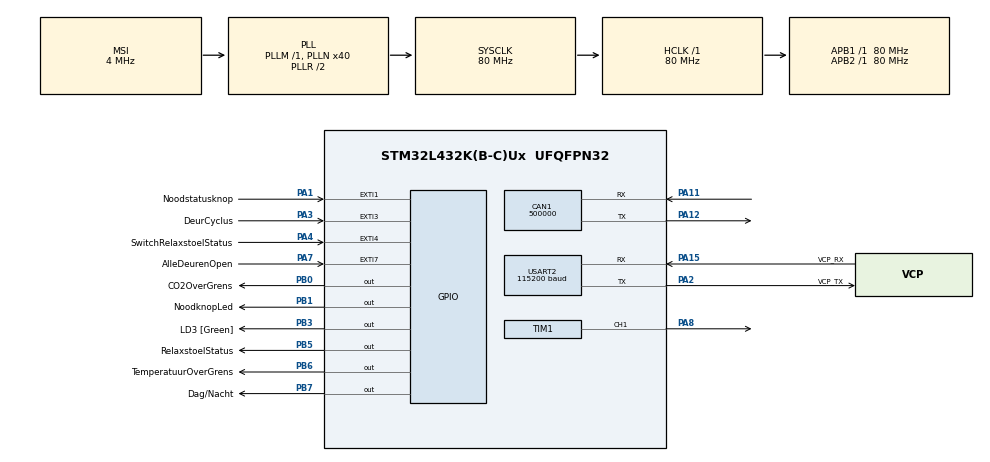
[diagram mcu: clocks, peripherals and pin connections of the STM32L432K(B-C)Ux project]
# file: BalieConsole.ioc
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CAN1.BS1=CAN_BS1_3TQ
CAN1.BS2=CAN_BS2_6TQ
CAN1.CalculateBaudRate=500000
CAN1.CalculateTimeBit=2000
CAN1.CalculateTimeQuantum=200.0
CAN1.NART=ENABLE
Mcu.Family=STM32L4
Mcu.Name=STM32L432K(B-C)Ux
Mcu.Package=UFQFPN32
NVIC.CAN1_RX0_IRQn=true\:0\:0\:false\:false\:true\:true\:true\:true
NVIC.EXTI1_IRQn=true\:0\:0\:false\:false\:true\:true\:true\:true
NVIC.EXTI3_IRQn=true\:0\:0\:false\:false\:true\:true\:true\:true
NVIC.EXTI4_IRQn=true\:0\:0\:false\:false\:true\:true\:true\:true
NVIC.EXTI9_5_IRQn=true\:0\:0\:false\:false\:true\:true\:true\:true
NVIC.PriorityGroup=NVIC_PRIORITYGROUP_4
NVIC.USART2_IRQn=true\:0\:0\:false\:false\:true\:true\:true\:true
PA0.GPIO_Label=MCO [High speed clock in]
PA0.Mode=HSE-External-Clock-Source-for-LittleOrca
PA0.Signal=RCC_CK_IN
PA1.GPIO_Label=Noodstatusknop
PA1.GPIO_ModeDefaultEXTI=GPIO_MODE_IT_FALLING
PA1.GPIO_PuPd=GPIO_PULLUP
PA1.Signal=GPXTI1
PA11.Mode=CAN_Activate
PA11.Signal=CAN1_RX
PA12.Mode=CAN_Activate
PA12.Signal=CAN1_TX
PA13\ (JTMS-SWDIO).GPIO_Label=SWDIO
PA13\ (JTMS-SWDIO).Mode=Serial_Wire
PA13\ (JTMS-SWDIO).Signal=SYS_JTMS-SWDIO
PA14\ (JTCK-SWCLK).GPIO_Label=SWCLK
PA14\ (JTCK-SWCLK).Mode=Serial_Wire
PA14\ (JTCK-SWCLK).Signal=SYS_JTCK-SWCLK
PA15\ (JTDI).GPIO_Label=VCP_RX
PA15\ (JTDI).Mode=Asynchronous
PA15\ (JTDI).Signal=USART2_RX
PA2.GPIO_Label=VCP_TX
PA2.Mode=Asynchronous
PA2.Signal=USART2_TX
PA3.GPIO_Label=DeurCyclus
PA3.GPIO_ModeDefaultEXTI=GPIO_MODE_IT_FALLING
PA3.GPIO_PuPd=GPIO_PULLUP
PA3.Signal=GPXTI3
PA4.GPIO_Label=SwitchRelaxstoelStatus
PA4.GPIO_ModeDefaultEXTI=GPIO_MODE_IT_FALLING
PA4.GPIO_PuPd=GPIO_PULLUP
PA4.Signal=GPXTI4
PA7.GPIO_Label=AlleDeurenOpen
PA7.GPIO_ModeDefaultEXTI=GPIO_MODE_IT_FALLING
PA7.GPIO_PuPd=GPIO_PULLUP
PA7.Signal=GPXTI7
PA8.Signal=S_TIM1_CH1
PB0.GPIO_Label=CO2OverGrens
PB0.Signal=GPIO_Output
PB1.GPIO_Label=NoodknopLed
PB1.Signal=GPIO_Output
PB3\ (JTDO-TRACESWO).GPIO_Label=LD3 [Green]
PB3\ (JTDO-TRACESWO).Signal=GPIO_Output
PB5.GPIO_Label=RelaxstoelStatus
PB5.Signal=GPIO_Output
PB6.GPIO_Label=TemperatuurOverGrens
PB6.Signal=GPIO_Output
PB7.GPIO_Label=Dag/Nacht
PB7.Signal=GPIO_Output
PC14-OSC32_IN\ (PC14).Mode=LSE-External-Oscillator
PC14-OSC32_IN\ (PC14).Signal=RCC_OSC32_IN
PC15-OSC32_OUT\ (PC15).Mode=LSE-External-Oscillator
PC15-OSC32_OUT\ (PC15).Signal=RCC_OSC32_OUT
ProjectManager.HeapSize=0x200
ProjectManager.StackSize=0x400
ProjectManager.TargetToolchain=STM32CubeIDE
RCC.AHBFreq_Value=80000000
RCC.APB1Freq_Value=80000000
RCC.APB1TimFreq_Value=80000000
RCC.APB2Freq_Value=80000000
RCC.APB2TimFreq_Value=80000000
RCC.CortexFreq_Value=80000000
RCC.HCLKFreq_Value=80000000
RCC.HSE_VALUE=8000000
RCC.HSI16_VALUE=16000000
RCC.HSI48_VALUE=48000000
RCC.HSI_VALUE=16000000
RCC.MSI_VALUE=4000000
RCC.PLLMUL=RCC_PLLMUL_4
RCC.PLLN=40
RCC.SYSCLKFreq_VALUE=80000000
RCC.SYSCLKSource=RCC_SYSCLKSOURCE_PLLCLK
RCC.VCOOutputFreq_Value=160000000
SH.S_TIM1_CH1.0=TIM1_CH1,PWM Generation1 CH1
TIM1.Channel-PWM\ Generation1\ CH1=TIM_CHANNEL_1
TIM1.Period=999
TIM1.Prescaler=31
TIM1.Pulse-PWM\ Generation1\ CH1=499
USART2.BaudRate=115200
USART2.VirtualMode-Asynchronous=VM_ASYNC
board=NUCLEO-L432KC

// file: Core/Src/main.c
/* USER CODE BEGIN Header */
/**
  ******************************************************************************
  * @file           : main.c
  * @brief          : Main program body
  ******************************************************************************
  * @attention
  *
  * Copyright (c) 2026 STMicroelectronics.
  * All rights reserved.
  *
  * This software is licensed under terms that can be found in the LICENSE file
  * in the root directory of this software component.
  * If no LICENSE file comes with this software, it is provided AS-IS.
  *
  ******************************************************************************
  */
/* USER CODE END Header */
#include "main.h"

/* USER CODE BEGIN Includes */
#include <stdio.h>
#include <string.h>
#include <stdlib.h>
/* USER CODE END Includes */

CAN_HandleTypeDef hcan1;

TIM_HandleTypeDef htim1;

UART_HandleTypeDef huart2;

/* USER CODE BEGIN PV */
CAN_TxHeaderTypeDef TxHeader;
CAN_RxHeaderTypeDef RxHeader;

uint8_t TxData[8];
uint8_t RxData[8];

uint32_t TxMailbox;
uint8_t rxByte; //usart recieving

uint8_t datacheck = 0;
uint8_t RTRReceived = 0;

volatile uint8_t noodActief = 0;
volatile uint8_t relaxStoelStatus = 0;
volatile uint8_t co2High = 1;
volatile uint8_t tempHigh = 1;
volatile uint8_t timeOfDay = 0;

/* debounce timers */
volatile uint32_t db_Deuren = 0;
volatile uint32_t db_Nood   = 0;
volatile uint32_t db_Cyclus = 0;
volatile uint32_t db_Relax  = 0;

// print usart output variables:
#define MAX_MSGS 5
#define MSG_LEN  32

char meldingen[MAX_MSGS][MSG_LEN];
uint8_t msgIndex = 0;
uint32_t lastRefresh = 0;
volatile uint8_t screenUpdateFlag = 1;
volatile uint16_t co2 = 0;
volatile uint8_t temp = 0;
volatile uint8_t menuState = 0;
// 0 = main menu
// 1 = color menu
// 2 = brightness menu
// 3 = combo menu
char uartBuf[25];
uint8_t uartIdx = 0;
/* USER CODE END PV */

void SystemClock_Config(void);
static void MX_GPIO_Init(void);
static void MX_USART2_UART_Init(void);
static void MX_TIM1_Init(void);
static void MX_CAN1_Init(void);
/* USER CODE BEGIN PFP */
void SendCanMessage(int dataLength, uint64_t data, uint16_t canID);
/* USER CODE END PFP */

/* USER CODE BEGIN 0 */

void Safe_Delay(int ms)
{
    uint32_t start = HAL_GetTick();
    while (HAL_GetTick() - start < ms) {
        if (noodActief) return;
    }
}

void ZetAan(GPIO_TypeDef* GPIO, uint16_t pin) {
    HAL_GPIO_WritePin(GPIO, pin, GPIO_PIN_SET);
}

void ZetUit(GPIO_TypeDef* GPIO, uint16_t pin) {
    HAL_GPIO_WritePin(GPIO, pin, GPIO_PIN_RESET);
}

void UART_Print(const char* str)
{
    while (*str)
    {
        HAL_UART_Transmit(&huart2, (uint8_t*)str, 1, HAL_MAX_DELAY);
        str++;
    }
}

void AddMelding(const char *msg)
{
    // shift older messages down
    for (int i = MAX_MSGS - 1; i > 0; i--)
    {
        strncpy(meldingen[i], meldingen[i - 1], MSG_LEN);
    }

    // insert newest at top
    strncpy(meldingen[0], msg, MSG_LEN - 1);
    meldingen[0][MSG_LEN - 1] = '\0';
}

void SendColor(uint8_t color)
{
    TxHeader.StdId = 0x100;
    TxHeader.DLC = 1;

    TxData[0] = color;

    HAL_CAN_AddTxMessage(&hcan1, &TxHeader, TxData, &TxMailbox);
}

void SendBrightness(uint8_t percent)
{
    if (percent > 100) percent = 100;

    uint8_t value = (percent * 255) / 100;

    TxHeader.StdId = 0x110;
    TxHeader.DLC = 1;

    TxData[0] = value;

    HAL_CAN_AddTxMessage(&hcan1, &TxHeader, TxData, &TxMailbox);
}

void HandleCommand(char *cmd)
{
    // MAIN MENU
    if (menuState == 0)
    {
        if (cmd[0] == '1')
        {
            menuState = 1;
            UART_Print("\r\nKleur kiezen (0-11):\r\n");
            UART_Print("0: Blauw\r\n");
            UART_Print("1: Groen\r\n");
            UART_Print("2: Aqua\r\n");
            UART_Print("3: Rood\r\n");
            UART_Print("4: Paars\r\n");
            UART_Print("5: Amber\r\n");
            UART_Print("6: Licht Blauw\r\n");
            UART_Print("7: Mint groen\r\n");
            UART_Print("8: Roze\r\n");
            UART_Print("9: Licht paars\r\n");
            UART_Print("10: Licht Geel\r\n");
            UART_Print("11: Wit\r\n");
            UART_Print("Selected color: ");
        }
        else if (cmd[0] == '2')
        {
            menuState = 2;
            UART_Print("\r\nHelderheid kiezen (0-100):\r\n");
        }
        else if (cmd[0] == '3')
        {
            menuState = 3;
            UART_Print("\r\nCombo: kleur + helderheid (bv: 5 80)\r\n");
            UART_Print("0: Blauw\r\n");
            UART_Print("1: Groen\r\n");
            UART_Print("2: Aqua\r\n");
            UART_Print("3: Rood\r\n");
            UART_Print("4: Paars\r\n");
            UART_Print("5: Amber\r\n");
            UART_Print("6: Licht Blauw\r\n");
            UART_Print("7: Mint groen\r\n");
            UART_Print("8: Roze\r\n");
            UART_Print("9: Licht paars\r\n");
            UART_Print("10: Licht Geel\r\n");
            UART_Print("11: Wit\r\n");
        }
        else if (cmd[0] == '4')
        {
            menuState = 4;
            uartIdx = 0; // reset buffer

            UART_Print("\r\nTyp tekst voor lichtkrant (max 24 chars):\r\n");
            UART_Print("> ");
            return;
        }
        else if (cmd[0] == '5')
        {
            menuState = 5;
            uartIdx = 0;

            UART_Print("\r\nNOODTEKST MODE (max 24 chars)\r\n");
            UART_Print("Typ noodbericht:\r\n> ");
            return;
        }
        else if (cmd[0] == '6')
        {
            menuState = 6;
            uartIdx = 0;

            UART_Print("\r\nDag/Nacht tijd instellen\r\n");
            UART_Print("Formaat: 0800 1700\r\n");
            UART_Print("Typ: <dagtijd> <nachtijd>\r\n> ");
            return;
        }
        return;
    }

    // COLOR MENU
    if (menuState == 1)
    {
        int color = atoi(cmd);

        if (color >= 0 && color <= 11)
        {
            SendColor((uint8_t)color);

            screenUpdateFlag = 1;
        }

        menuState = 0;
        return;
    }

    // BRIGHTNESS MENU
    if (menuState == 2)
    {
        int percent = atoi(cmd);

        if (percent < 0) percent = 0;
        if (percent > 100) percent = 100;

        SendBrightness((uint8_t)percent);
        screenUpdateFlag = 1;

        menuState = 0;
        return;
    }

    // COMBO MENU
    if (menuState == 3)
    {
        int color, brightness;

        if (sscanf(cmd, "%d %d", &color, &brightness) == 2)
        {
            if (color >= 0 && color <= 11)
                SendColor((uint8_t)color);

            if (brightness < 0) brightness = 0;
            if (brightness > 100) brightness = 100;

            SendBrightness((uint8_t)brightness);

            UART_Print("Combo sent\r\n");
            screenUpdateFlag = 1;
        }
        else
        {
            UART_Print("Format: <color> <brightness>\r\n");
        }

        menuState = 0;
        return;
    }

    if (menuState == 4)
    {
        int len = strlen(cmd);

        if (len == 0)
        {
            menuState = 0;
            return;
        }

        if (len > 24)
        {
            UART_Print("\r\nTe lang! Max 24 karakters.\r\n");
            len = 24;
        }

        UART_Print("\r\nVersturen...\r\n");

        uint8_t frame1[8] = {0};
        uint8_t frame2[8] = {0};
        uint8_t frame3[8] = {0};

        // ----------------------------
        // Split string into 3 CAN frames
        // ----------------------------
        for (int i = 0; i < 8; i++)
        {
            frame1[i] = (i < len) ? cmd[i] : 0x00;
            frame2[i] = ((i + 8) < len) ? cmd[i + 8] : 0x00;
            frame3[i] = ((i + 16) < len) ? cmd[i + 16] : 0x00;
        }

        // ----------------------------
        // PACK FRAME 1
        // ----------------------------
        uint64_t pack1 = 0;
        uint64_t pack2 = 0;
        uint64_t pack3 = 0;

        for (int i = 0; i < 8; i++)
        {
            pack1 |= ((uint64_t)frame1[i]) << (8 * (7 - i));
            pack2 |= ((uint64_t)frame2[i]) << (8 * (7 - i));
            pack3 |= ((uint64_t)frame3[i]) << (8 * (7 - i));
        }

        // ----------------------------
        // SEND FRAME
        // ----------------------------
        SendCanMessage(8, pack1, 0x180);
        SendCanMessage(8, pack2, 0x190);
        SendCanMessage(8, pack3, 0x191);

        UART_Print("Klaar met versturen\r\n");

        menuState = 0;
        screenUpdateFlag = 1;
        return;
    }
    if (menuState == 5)
    {
        int len = strlen(cmd);

        if (len == 0)
        {
            menuState = 0;
            return;
        }

        if (len > 24)
        {
            UART_Print("\r\nTe lang! Max 24 karakters.\r\n");
            len = 24;
        }

        UART_Print("\r\nNOODTEKST WORDT VERSTUURD...\r\n");

        uint8_t frame1[8] = {0};
        uint8_t frame2[8] = {0};
        uint8_t frame3[8] = {0};

        // ----------------------------
        // Split into 3 CAN frames
        // ----------------------------
        for (int i = 0; i < 8; i++)
        {
            frame1[i] = (i < len) ? cmd[i] : 0x00;
            frame2[i] = ((i + 8) < len) ? cmd[i + 8] : 0x00;
            frame3[i] = ((i + 16) < len) ? cmd[i + 16] : 0x00;
        }

        // ----------------------------
        // PACK INTO uint64_t SAFELY
        // ----------------------------
        uint64_t pack1 = 0;
        uint64_t pack2 = 0;
        uint64_t pack3 = 0;

        for (int i = 0; i < 8; i++)
        {
            pack1 |= ((uint64_t)frame1[i]) << (8 * (7 - i));
            pack2 |= ((uint64_t)frame2[i]) << (8 * (7 - i));
            pack3 |= ((uint64_t)frame3[i]) << (8 * (7 - i));
        }

        // ----------------------------
        // SEND ALL FRAMES
        // ----------------------------
        SendCanMessage(8, pack1, 0x150);
        SendCanMessage(8, pack2, 0x160);
        SendCanMessage(8, pack3, 0x170);

        UART_Print("NOODTEKST verzonden\r\n");

        menuState = 0;
        screenUpdateFlag = 1;
        return;
    }
    if (menuState == 6)
    {
        int day, night;

        if (strlen(cmd) == 0)
        {
            menuState = 0;
            return;
        }

        // Expect: 0800 1700
        if (sscanf(cmd, "%d %d", &day, &night) != 2)
        {
            UART_Print("\r\n? Fout formaat!\r\nGebruik: 0800 1700\r\n");
            menuState = 0;
            return;
        }

        int dayHH = day / 100;
        int dayMM = day % 100;
        int nightHH = night / 100;
        int nightMM = night % 100;

        if (dayHH > 23 || nightHH > 23 || dayMM > 59 || nightMM > 59)
        {
            UART_Print("\r\n? Ongeldige tijd!\r\n");
            menuState = 0;
            return;
        }

        UART_Print("\r\nTijd versturen...\r\n");

        uint8_t frame[8] = {0};

        // same layout you wanted:
        // 0x00 08 00 00 01 07 00 00

        frame[0] = 0x00;
        frame[1] = (uint8_t)dayHH;
        frame[2] = (uint8_t)dayMM;
        frame[3] = 0x00;

        frame[4] = 0x00;
        frame[5] = (uint8_t)nightHH;
        frame[6] = (uint8_t)nightMM;
        frame[7] = 0x00;

        // ----------------------------
        // PACK USING SAME METHOD AS MENU 5
        // ----------------------------
        uint64_t pack = 0;

        for (int i = 0; i < 8; i++)
        {
            pack |= ((uint64_t)frame[i]) << (8 * (7 - i));
        }

        SendCanMessage(8, pack, 0x192);

        UART_Print("OK: tijd verzonden (0x192)\r\n");

        menuState = 0;
        screenUpdateFlag = 1;
        return;
    }
}
/* USER CODE END 0 */

int main(void)
{

  /* MCU Configuration--------------------------------------------------------*/

  /* Reset of all peripherals, Initializes the Flash interface and the Systick. */
  HAL_Init();

  /* Configure the system clock */
  SystemClock_Config();

  /* Initialize all configured peripherals */
  MX_GPIO_Init();
  MX_USART2_UART_Init();
  MX_TIM1_Init();
  MX_CAN1_Init();
  /* USER CODE BEGIN 2 */
  HAL_UART_Receive_IT(&huart2, &rxByte, 1);

  CAN_FilterTypeDef canfilterconfig;

  /* Common filter settings */
  canfilterconfig.FilterActivation = CAN_FILTER_ENABLE;
  canfilterconfig.FilterFIFOAssignment = CAN_FILTER_FIFO0;
  canfilterconfig.FilterMode = CAN_FILTERMODE_IDMASK;
  canfilterconfig.FilterScale = CAN_FILTERSCALE_32BIT;
  canfilterconfig.SlaveStartFilterBank = 10;

  /* Filter 0 -> 0x200 */
  canfilterconfig.FilterBank = 0;
  canfilterconfig.FilterIdHigh = (0x200 << 5);
  canfilterconfig.FilterIdLow = 0;
  canfilterconfig.FilterMaskIdHigh = (0x7FF << 5);
  canfilterconfig.FilterMaskIdLow = 0;
  HAL_CAN_ConfigFilter(&hcan1, &canfilterconfig);

  /* Filter 1 -> 0x210 */
  canfilterconfig.FilterBank = 1;
  canfilterconfig.FilterIdHigh = (0x210 << 5);
  HAL_CAN_ConfigFilter(&hcan1, &canfilterconfig);

  /* Filter 2 -> 0x001 */
  canfilterconfig.FilterBank = 2;
  canfilterconfig.FilterIdHigh = (0x001 << 5);
  HAL_CAN_ConfigFilter(&hcan1, &canfilterconfig);

  /* Filter 3 -> 0x300 */
  canfilterconfig.FilterBank = 3;
  canfilterconfig.FilterIdHigh = (0x300 << 5);
  HAL_CAN_ConfigFilter(&hcan1, &canfilterconfig);

  /* Filter 4 -> 0x310 */
  canfilterconfig.FilterBank = 4;
  canfilterconfig.FilterIdHigh = (0x310 << 5);
  HAL_CAN_ConfigFilter(&hcan1, &canfilterconfig);

  /* Filter 5 -> 0x400 */
  canfilterconfig.FilterBank = 5;
  canfilterconfig.FilterIdHigh = (0x400 << 5);
  HAL_CAN_ConfigFilter(&hcan1, &canfilterconfig);

  /* Filter 6 -> 0x410 */
  canfilterconfig.FilterBank = 6;
  canfilterconfig.FilterIdHigh = (0x410 << 5);
  HAL_CAN_ConfigFilter(&hcan1, &canfilterconfig);

  /* Filter 7 -> 0x420 */
  canfilterconfig.FilterBank = 7;
  canfilterconfig.FilterIdHigh = (0x420 << 5);
  HAL_CAN_ConfigFilter(&hcan1, &canfilterconfig);

  /* Filter 8 -> 0x430 */
  canfilterconfig.FilterBank = 8;
  canfilterconfig.FilterIdHigh = (0x430 << 5);
  HAL_CAN_ConfigFilter(&hcan1, &canfilterconfig);

	if (HAL_CAN_Start(&hcan1) != HAL_OK) {
		Error_Handler();
	}

	TxHeader.IDE = CAN_ID_STD;
	TxHeader.RTR = CAN_RTR_DATA;
	TxHeader.DLC = 1;

	if (HAL_CAN_ActivateNotification(&hcan1, CAN_IT_RX_FIFO0_MSG_PENDING)
			!= HAL_OK) {
		Error_Handler();
	}
	HAL_Delay(100);
  /* USER CODE END 2 */

  /* Infinite loop */
  /* USER CODE BEGIN WHILE */
	while (1)
	{
	    uint32_t now = HAL_GetTick();

	    if (((now - lastRefresh) >= 10000 || screenUpdateFlag) && menuState == 0)
	    {
	        lastRefresh = now;
	        screenUpdateFlag = 0;

	        char buf[128];

	        /* Push old content away */
	        for (int i = 0; i < 40; i++)
	        {
	            UART_Print("\r\n");
	        }
	        UART_Print("\r\n==================================================\r\n");

	        UART_Print("           SYSTEEM STATUS OVERVIEW\r\n");
	        UART_Print("==================================================\r\n\r\n");

	        /* ================= KLIMAAT ================= */
	        snprintf(buf, sizeof(buf),
	            "[Klimaat]\r\n"
	            "  CO2  : %d ppm\r\n"
	            "  Temp : %d C\r\n"
	            "  LDR  : %d\r\n\r\n",
	            co2, temp, 0
	        );
	        UART_Print(buf);

	        /* ================= STATUS ================= */
	        snprintf(buf, sizeof(buf),
	            "[Status]\r\n"
	            "  Dag/Nacht : %s\r\n"
	            "  CO2       : %s\r\n"
	            "  Temp      : %s\r\n\r\n",
	            timeOfDay ? "Nacht" : "Dag",
	            co2High ? "WARN" : "OK",
	            tempHigh ? "WARN" : "OK"
	        );
	        UART_Print(buf);

	        /* ================= MELDINGEN ================= */
	        UART_Print("[Meldingen]\r\n");

	        int hasMsg = 0;

	        for (int i = 0; i < MAX_MSGS; i++)
	        {
	            if (meldingen[i][0] != '\0')
	            {
	                hasMsg = 1;

	                snprintf(buf, sizeof(buf),
	                    "  %d) %s",
	                    i + 1,
	                    meldingen[i]
	                );

	                UART_Print(buf);
	            }
	        }

	        if (!hasMsg)
	        {
	            UART_Print("  (geen meldingen)\r\n");
	        }

	        UART_Print("\r\n==================================================\r\n");
	        UART_Print("MENU\r\n");
	        UART_Print("==================================================\r\n");

	        UART_Print("1 - LED kleur instellen\r\n");
	        UART_Print("2 - LED helderheid instellen\r\n");
	        UART_Print("3 - LED kleur + helderheid\r\n");
	        UART_Print("4 - Lichtkrant tekst\r\n");
	        UART_Print("5 - NOODTEKST (prioriteit)\r\n");
	        UART_Print("6 - Stuur dag/nacht tijd\r\n");
	        UART_Print("\r\n==================================================\r\n");
	    }
    /* USER CODE END WHILE */

  }
}

void SystemClock_Config(void)
{
  RCC_OscInitTypeDef RCC_OscInitStruct = {0};
  RCC_ClkInitTypeDef RCC_ClkInitStruct = {0};

  /** Configure the main internal regulator output voltage
  */
  if (HAL_PWREx_ControlVoltageScaling(PWR_REGULATOR_VOLTAGE_SCALE1) != HAL_OK)
  {
    Error_Handler();
  }

  /** Configure LSE Drive Capability
  */
  HAL_PWR_EnableBkUpAccess();
  __HAL_RCC_LSEDRIVE_CONFIG(RCC_LSEDRIVE_LOW);

  /** Initializes the RCC Oscillators according to the specified parameters
  * in the RCC_OscInitTypeDef structure.
  */
  RCC_OscInitStruct.OscillatorType = RCC_OSCILLATORTYPE_LSE|RCC_OSCILLATORTYPE_MSI;
  RCC_OscInitStruct.LSEState = RCC_LSE_ON;
  RCC_OscInitStruct.MSIState = RCC_MSI_ON;
  RCC_OscInitStruct.MSICalibrationValue = 0;
  RCC_OscInitStruct.MSIClockRange = RCC_MSIRANGE_6;
  RCC_OscInitStruct.PLL.PLLState = RCC_PLL_ON;
  RCC_OscInitStruct.PLL.PLLSource = RCC_PLLSOURCE_MSI;
  RCC_OscInitStruct.PLL.PLLM = 1;
  RCC_OscInitStruct.PLL.PLLN = 40;
  RCC_OscInitStruct.PLL.PLLP = RCC_PLLP_DIV7;
  RCC_OscInitStruct.PLL.PLLQ = RCC_PLLQ_DIV2;
  RCC_OscInitStruct.PLL.PLLR = RCC_PLLR_DIV2;
  if (HAL_RCC_OscConfig(&RCC_OscInitStruct) != HAL_OK)
  {
    Error_Handler();
  }

  /** Initializes the CPU, AHB and APB buses clocks
  */
  RCC_ClkInitStruct.ClockType = RCC_CLOCKTYPE_HCLK|RCC_CLOCKTYPE_SYSCLK
                              |RCC_CLOCKTYPE_PCLK1|RCC_CLOCKTYPE_PCLK2;
  RCC_ClkInitStruct.SYSCLKSource = RCC_SYSCLKSOURCE_PLLCLK;
  RCC_ClkInitStruct.AHBCLKDivider = RCC_SYSCLK_DIV1;
  RCC_ClkInitStruct.APB1CLKDivider = RCC_HCLK_DIV1;
  RCC_ClkInitStruct.APB2CLKDivider = RCC_HCLK_DIV1;

  if (HAL_RCC_ClockConfig(&RCC_ClkInitStruct, FLASH_LATENCY_4) != HAL_OK)
  {
    Error_Handler();
  }

  /** Enable MSI Auto calibration
  */
  HAL_RCCEx_EnableMSIPLLMode();
}

static void MX_CAN1_Init(void)
{

  hcan1.Instance = CAN1;
  hcan1.Init.Prescaler = 16;
  hcan1.Init.Mode = CAN_MODE_NORMAL;
  hcan1.Init.SyncJumpWidth = CAN_SJW_1TQ;
  hcan1.Init.TimeSeg1 = CAN_BS1_3TQ;
  hcan1.Init.TimeSeg2 = CAN_BS2_6TQ;
  hcan1.Init.TimeTriggeredMode = DISABLE;
  hcan1.Init.AutoBusOff = DISABLE;
  hcan1.Init.AutoWakeUp = DISABLE;
  hcan1.Init.AutoRetransmission = ENABLE;
  hcan1.Init.ReceiveFifoLocked = DISABLE;
  hcan1.Init.TransmitFifoPriority = DISABLE;
  if (HAL_CAN_Init(&hcan1) != HAL_OK)
  {
    Error_Handler();
  }

}

static void MX_TIM1_Init(void)
{

  TIM_MasterConfigTypeDef sMasterConfig = {0};
  TIM_OC_InitTypeDef sConfigOC = {0};
  TIM_BreakDeadTimeConfigTypeDef sBreakDeadTimeConfig = {0};

  htim1.Instance = TIM1;
  htim1.Init.Prescaler = 31;
  htim1.Init.CounterMode = TIM_COUNTERMODE_UP;
  htim1.Init.Period = 999;
  htim1.Init.ClockDivision = TIM_CLOCKDIVISION_DIV1;
  htim1.Init.RepetitionCounter = 0;
  htim1.Init.AutoReloadPreload = TIM_AUTORELOAD_PRELOAD_DISABLE;
  if (HAL_TIM_PWM_Init(&htim1) != HAL_OK)
  {
    Error_Handler();
  }
  sMasterConfig.MasterOutputTrigger = TIM_TRGO_RESET;
  sMasterConfig.MasterOutputTrigger2 = TIM_TRGO2_RESET;
  sMasterConfig.MasterSlaveMode = TIM_MASTERSLAVEMODE_DISABLE;
  if (HAL_TIMEx_MasterConfigSynchronization(&htim1, &sMasterConfig) != HAL_OK)
  {
    Error_Handler();
  }
  sConfigOC.OCMode = TIM_OCMODE_PWM1;
  sConfigOC.Pulse = 499;
  sConfigOC.OCPolarity = TIM_OCPOLARITY_HIGH;
  sConfigOC.OCNPolarity = TIM_OCNPOLARITY_HIGH;
  sConfigOC.OCFastMode = TIM_OCFAST_DISABLE;
  sConfigOC.OCIdleState = TIM_OCIDLESTATE_RESET;
  sConfigOC.OCNIdleState = TIM_OCNIDLESTATE_RESET;
  if (HAL_TIM_PWM_ConfigChannel(&htim1, &sConfigOC, TIM_CHANNEL_1) != HAL_OK)
  {
    Error_Handler();
  }
  sBreakDeadTimeConfig.OffStateRunMode = TIM_OSSR_DISABLE;
  sBreakDeadTimeConfig.OffStateIDLEMode = TIM_OSSI_DISABLE;
  sBreakDeadTimeConfig.LockLevel = TIM_LOCKLEVEL_OFF;
  sBreakDeadTimeConfig.DeadTime = 0;
  sBreakDeadTimeConfig.BreakState = TIM_BREAK_DISABLE;
  sBreakDeadTimeConfig.BreakPolarity = TIM_BREAKPOLARITY_HIGH;
  sBreakDeadTimeConfig.BreakFilter = 0;
  sBreakDeadTimeConfig.Break2State = TIM_BREAK2_DISABLE;
  sBreakDeadTimeConfig.Break2Polarity = TIM_BREAK2POLARITY_HIGH;
  sBreakDeadTimeConfig.Break2Filter = 0;
  sBreakDeadTimeConfig.AutomaticOutput = TIM_AUTOMATICOUTPUT_DISABLE;
  if (HAL_TIMEx_ConfigBreakDeadTime(&htim1, &sBreakDeadTimeConfig) != HAL_OK)
  {
    Error_Handler();
  }
  HAL_TIM_MspPostInit(&htim1);

}

static void MX_USART2_UART_Init(void)
{

  huart2.Instance = USART2;
  huart2.Init.BaudRate = 115200;
  huart2.Init.WordLength = UART_WORDLENGTH_8B;
  huart2.Init.StopBits = UART_STOPBITS_1;
  huart2.Init.Parity = UART_PARITY_NONE;
  huart2.Init.Mode = UART_MODE_TX_RX;
  huart2.Init.HwFlowCtl = UART_HWCONTROL_NONE;
  huart2.Init.OverSampling = UART_OVERSAMPLING_16;
  huart2.Init.OneBitSampling = UART_ONE_BIT_SAMPLE_DISABLE;
  huart2.AdvancedInit.AdvFeatureInit = UART_ADVFEATURE_NO_INIT;
  if (HAL_UART_Init(&huart2) != HAL_OK)
  {
    Error_Handler();
  }

}

static void MX_GPIO_Init(void)
{
  GPIO_InitTypeDef GPIO_InitStruct = {0};

  /* GPIO Ports Clock Enable */
  __HAL_RCC_GPIOC_CLK_ENABLE();
  __HAL_RCC_GPIOA_CLK_ENABLE();
  __HAL_RCC_GPIOB_CLK_ENABLE();

  /*Configure GPIO pin Output Level */
  HAL_GPIO_WritePin(GPIOB, CO2OverGrens_Pin|NoodknopLed_Pin|LD3_Pin|RelaxstoelStatus_Pin
                          |TemperatuurOverGrens_Pin|Dag_Nacht_Pin, GPIO_PIN_RESET);

  /*Configure GPIO pins : Noodstatusknop_Pin DeurCyclus_Pin SwitchRelaxstoelStatus_Pin AlleDeurenOpen_Pin */
  GPIO_InitStruct.Pin = Noodstatusknop_Pin|DeurCyclus_Pin|SwitchRelaxstoelStatus_Pin|AlleDeurenOpen_Pin;
  GPIO_InitStruct.Mode = GPIO_MODE_IT_FALLING;
  GPIO_InitStruct.Pull = GPIO_PULLUP;
  HAL_GPIO_Init(GPIOA, &GPIO_InitStruct);

  /*Configure GPIO pins : CO2OverGrens_Pin NoodknopLed_Pin LD3_Pin RelaxstoelStatus_Pin
                           TemperatuurOverGrens_Pin Dag_Nacht_Pin */
  GPIO_InitStruct.Pin = CO2OverGrens_Pin|NoodknopLed_Pin|LD3_Pin|RelaxstoelStatus_Pin
                          |TemperatuurOverGrens_Pin|Dag_Nacht_Pin;
  GPIO_InitStruct.Mode = GPIO_MODE_OUTPUT_PP;
  GPIO_InitStruct.Pull = GPIO_NOPULL;
  GPIO_InitStruct.Speed = GPIO_SPEED_FREQ_LOW;
  HAL_GPIO_Init(GPIOB, &GPIO_InitStruct);

  /* EXTI interrupt init*/
  HAL_NVIC_SetPriority(EXTI1_IRQn, 0, 0);
  HAL_NVIC_EnableIRQ(EXTI1_IRQn);

  HAL_NVIC_SetPriority(EXTI3_IRQn, 0, 0);
  HAL_NVIC_EnableIRQ(EXTI3_IRQn);

  HAL_NVIC_SetPriority(EXTI4_IRQn, 0, 0);
  HAL_NVIC_EnableIRQ(EXTI4_IRQn);

  HAL_NVIC_SetPriority(EXTI9_5_IRQn, 0, 0);
  HAL_NVIC_EnableIRQ(EXTI9_5_IRQn);

}

/* USER CODE BEGIN 4 */
void HAL_UART_RxCpltCallback(UART_HandleTypeDef *huart)
{
    if (huart->Instance == USART2)
    {
        HAL_UART_Transmit(&huart2, &rxByte, 1, HAL_MAX_DELAY);

        if (rxByte == '\r' || rxByte == '\n')
        {
            uartBuf[uartIdx] = '\0';
            uartIdx = 0;

            HandleCommand(uartBuf);
        }
        else
        {
            if (uartIdx < sizeof(uartBuf) - 1)
                uartBuf[uartIdx++] = rxByte;
        }

        HAL_UART_Receive_IT(&huart2, &rxByte, 1);
    }
}

void HAL_CAN_RxFifo0MsgPendingCallback(CAN_HandleTypeDef *hcan) {
	screenUpdateFlag = 1;

	if (HAL_CAN_GetRxMessage(hcan, CAN_RX_FIFO0, &RxHeader, RxData) != HAL_OK) {
	}

//	char msg[] = "CAN ontvangen!\r\n";
//	HAL_UART_Transmit(&huart2, (uint8_t*) msg, sizeof(msg) - 1, HAL_MAX_DELAY);
//  if ((RxHeader.StdId == 0x113)) {
//	  if (RxData[0] == 0x01) {
//		  datacheck = 1;
//	  } else if (RxData[0] == 0x02) {
//		  datacheck =0;
//	  }
//  }

//  if (RxHeader.RTR == CAN_RTR_REMOTE && RxHeader.StdId == 0x112) {
//	  RTRReceived = 1;
//  }
	if ((RxHeader.StdId == 0x001)) {
		if (RxData[0] == 0x01) {
			noodActief = 1;
			AddMelding("Noodknop aan!\r\n\r\n");
			ZetAan(GPIOB, NoodknopLed_Pin);
		}
		if (RxData[0] == 0x00) {
			noodActief = 0;
			AddMelding("Noodstand uit!\r\n\r\n");
			ZetUit(GPIOB, NoodknopLed_Pin);
		}
	}
	if (RxHeader.StdId == 0x300) {
	    uint16_t value = ((uint16_t)RxData[0] << 8) | RxData[1];
	    if (value >= 600) {
	        if (!co2High) {
	        	AddMelding("CO2 te hoog\r\n\r\n");
	            ZetAan(GPIOB, CO2OverGrens_Pin);
	            co2High = 1;
	        }
	    } else {
	        if (co2High) {
	        	AddMelding("CO2 normaal\r\n\r\n");
	            ZetUit(GPIOB, CO2OverGrens_Pin);
	            co2High = 0;
	        }
	    }
	    co2 = value;
	}
	if (RxHeader.StdId == 0x310) {
	    if (RxData[0] >= 25) {
	    	if (!tempHigh) {
	    		AddMelding("Temperatuur te hoog\r\n\r\n");
	            ZetAan(GPIOB, TemperatuurOverGrens_Pin);
	            tempHigh = 1;
	    	}
	    } else {
	    	if (tempHigh) {
	    		AddMelding("Temperatuur normaal\r\n\r\n");
	            ZetUit(GPIOB, TemperatuurOverGrens_Pin);
	            tempHigh = 0;
	    	}
	    }
	    temp = RxData[0];
	}
	if (RxHeader.StdId == 0x430) {
	    if (RxData[0] == 0x01) {
	    	AddMelding("RelaxStoel aan\r\n\r\n");
	    	ZetAan(GPIOB, RelaxstoelStatus_Pin);
	    	relaxStoelStatus = 1;
	    }
	    else if (RxData[0] == 0x00) {
	    	AddMelding("RelaxStoel uit\r\n\r\n");
	    	ZetUit(GPIOB, RelaxstoelStatus_Pin);
	    	relaxStoelStatus = 0;
	    }
	}
	if (RxHeader.StdId == 0x410) {
		AddMelding("Het is dag\r\n\r\n");
		timeOfDay = 0;
	}
	if (RxHeader.StdId == 0x420) {
		AddMelding("Het is nacht\r\n\r\n");
		timeOfDay = 1;
	}
}

void SendCanMessage(int dataLength, uint64_t data, uint16_t canID)
{
    uint8_t TxData[8] = {0};

    // Extract bytes in BIG-ENDIAN order from uint64_t
    for (int i = 0; i < dataLength; i++) {
        TxData[i] = (data >> (8 * (dataLength - 1 - i))) & 0xFF;
    }

    TxHeader.DLC = dataLength;
    TxHeader.StdId = canID;

    HAL_StatusTypeDef status =
        HAL_CAN_AddTxMessage(&hcan1, &TxHeader, TxData, &TxMailbox);

    if (status != HAL_OK) {
        UART_Print("CAN TX failed\r\n");
    }
}

void HAL_GPIO_EXTI_Callback(uint16_t GPIO_Pin) {
    uint32_t nu = HAL_GetTick();
    // Noodknop altijd verwerken, ongeacht noodActief
    if (GPIO_Pin == Noodstatusknop_Pin && (nu - db_Nood) >= 300) {
        db_Nood = nu;
        screenUpdateFlag = 1;
        noodActief = !noodActief;
        if (noodActief)
        {
        	AddMelding("Noodknop aan!\r\n\r\n");
            ZetAan(GPIOB, NoodknopLed_Pin);
			uint64_t NoodknopAan = 0x01;
			SendCanMessage(1, NoodknopAan, 0x001);
        }
        else
        {
        	AddMelding("Noodstand uit!\r\n\r\n");
            ZetUit(GPIOB, NoodknopLed_Pin);
			uint64_t NoodknopUit = 0x00;
			SendCanMessage(1, NoodknopUit, 0x001);
        }
        return;
    }

    if (noodActief) return;

    if (GPIO_Pin == AlleDeurenOpen_Pin && (nu - db_Deuren) >= 300)
    {
    	screenUpdateFlag = 1;
        db_Deuren = nu;
        AddMelding("Alle Deuren gaan open\r\n\r\n");
		uint64_t StuurNiks = 0x00;
		SendCanMessage(1, StuurNiks, 0x120);
    }
    else if (GPIO_Pin == DeurCyclus_Pin && (nu - db_Cyclus) >= 300)
    {
    	screenUpdateFlag = 1;
        db_Cyclus = nu;
        AddMelding("Deurcyclus wordt gestart\r\n\r\n");
		uint64_t StuurNiks = 0x00;
		SendCanMessage(1, StuurNiks, 0x130);
    }
    else if (GPIO_Pin == SwitchRelaxstoelStatus_Pin && (nu - db_Relax) >= 300)
    {
    	screenUpdateFlag = 1;
        db_Relax = nu;
		if (relaxStoelStatus == 0) {
			relaxStoelStatus = 1;
			AddMelding("Status Relaxstoel aan\r\n\r\n");
			uint64_t AanBit = 0x01;
			SendCanMessage(1, AanBit, 0x140);
			ZetAan(GPIOB, RelaxstoelStatus_Pin);
			relaxStoelStatus = 1;
		} else if (relaxStoelStatus == 1) {
			relaxStoelStatus = 0;
			AddMelding("Status Relaxstoel uit\r\n\r\n");
			uint64_t UitBit = 0x00;
			SendCanMessage(1, UitBit, 0x140);
            ZetUit(GPIOB, RelaxstoelStatus_Pin);
            relaxStoelStatus = 0;
		}
    }
}

/* USER CODE END 4 */

void Error_Handler(void)
{
  __disable_irq();
  while (1)
  {
  }
}
